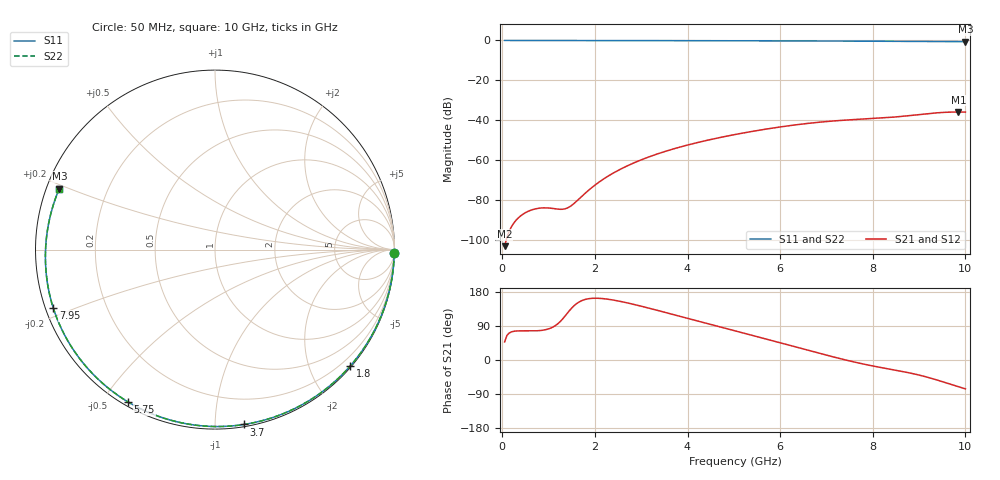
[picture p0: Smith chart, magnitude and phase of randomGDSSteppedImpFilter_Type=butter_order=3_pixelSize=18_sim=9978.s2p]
! freq	dB(S11)	phase(S11)	dB(S12)	phase(S12)
!  dB(S21)	phase(S21)	dB(S22)	phase(S22)
!S-par simulation data
#  GHz  S  DB  R 50
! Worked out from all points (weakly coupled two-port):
!   200 points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, 50 MHz to 10 GHz, reference 50 ohm
!   highest |S21| = -35.85 dB at 9.85 GHz (marker M1); lowest = -103.0 dB at 50 MHz (marker M2)
!   lowest |S11| = -0.6 dB at 10 GHz (marker M3), VSWR 28.20, Z = 1.84 + j9.45 ohm
!   |S11| at or under -10 dB: nowhere
!   |S22| runs from -0.6 to 0.0 dB; largest |S21 - S12| = 0
!   S11 on the Smith chart (normalised r, x): 50 MHz: open; 1.8 GHz: 0.02, -2.70; 3.7 GHz: 0.01, -1.18; 5.75 GHz: 0.02, -0.58; 7.95 GHz: 0.02, -0.17; 10 GHz: 0.04, +0.19
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0.05  -0.01 -1.1  -103.03 47.8  -103.03 47.8  -0.01 -1.1
0.8  -0.02 -18.3  -84.00 77.5  -84.00 77.5  -0.02 -18.3
1.6  -0.05 -36.2  -80.60 148.4  -80.60 148.4  -0.05 -36.2
1.65  -0.05 -37.3  -79.53 152.5  -79.53 152.5  -0.05 -37.3
1.75  -0.05 -39.5  -77.37 158.3  -77.37 158.3  -0.05 -39.5
1.8  -0.05 -40.6  -76.32 160.1  -76.32 160.1  -0.05 -40.6
2.15  -0.06 -48.3  -69.96 162.3  -69.96 162.3  -0.06 -48.2
2.5  -0.07 -55.8  -65.10 155.9  -65.10 155.9  -0.07 -55.7
2.9  -0.08 -64.2  -60.74 145.0  -60.74 145.0  -0.08 -64.1
3.4  -0.10 -74.5  -56.45 129.4  -56.45 129.4  -0.10 -74.4
3.7  -0.11 -80.5  -54.30 119.7  -54.30 119.7  -0.11 -80.5
4.35  -0.13 -93.3  -50.40 98.6  -50.40 98.6  -0.13 -93.3
5.05  -0.16 -106.7  -47.01 76.1  -47.01 76.1  -0.16 -106.7
5.75  -0.20 -119.8  -44.20 53.6  -44.20 53.6  -0.20 -119.7
6.7  -0.26 -137.2  -41.29 22.5  -41.29 22.5  -0.26 -137.1
7.35  -0.31 -149.1  -39.99 1.9  -39.99 1.9  -0.31 -149.0
7.95  -0.37 -160.2  -39.18 -14.5  -39.18 -14.5  -0.37 -160.1
8.35  -0.42 -167.8  -38.58 -23.8  -38.58 -23.8  -0.42 -167.7
9.1  -0.52 177.5  -36.86 -42.8  -36.86 -42.8  -0.51 177.6
9.5  -0.56 169.3  -36.07 -57.0  -36.07 -57.0  -0.56 169.4
9.85  -0.60 161.8  -35.85 -70.6  -35.85 -70.6  -0.60 162.0
10  -0.62 158.6  -35.89 -76.2  -35.89 -76.2  -0.62 158.7
